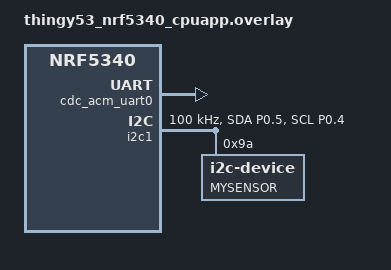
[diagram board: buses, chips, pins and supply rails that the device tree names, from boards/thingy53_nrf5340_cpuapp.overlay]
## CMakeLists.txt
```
#
# Copyright (c) 2018 Nordic Semiconductor
#
# SPDX-License-Identifier: LicenseRef-Nordic-5-Clause
#
cmake_minimum_required(VERSION 3.20.0)

set(PM_STATIC_YML_FILE
  ${CMAKE_CURRENT_SOURCE_DIR}/boards/pm_static_${BOARD}.yml
  )

set(CMAKE_CXX_STANDARD 11)
set(CMAKE_CXX_STANDARD_REQUIRED ON)

find_package(Zephyr REQUIRED HINTS $ENV{ZEPHYR_BASE})
project("Power Controller" VERSION 0.1)

###


include(utils/cmake/utils.cmake)

# Add the Edge Impulse SDK
add_subdirectory(ei-model/edge-impulse-sdk/cmake/zephyr)


# Edge impulse SDK include directories
set(INCLUDES
    .
    ei-model
    ei-model/tflite-model
    ei-model/model-parameters
    src
    )
include_directories(${INCLUDES})

RECURSIVE_FIND_FILE(MODEL_FILES "ei-model/tflite-model" "*.cpp")

list(APPEND SOURCE_FILES ${MODEL_FILES})

###

# NORDIC SDK APP START
target_sources(app PRIVATE ${SOURCE_FILES})
target_sources(app PRIVATE src/main.cpp)

# Preinitialization related to Thingy:53 DFU
target_sources_ifdef(CONFIG_BOARD_THINGY53_NRF5340_CPUAPP app PRIVATE
  boards/thingy53.c
)

# NORDIC SDK APP END
zephyr_library_include_directories(.)
```

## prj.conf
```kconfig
#
# Copyright (c) 2018 Nordic Semiconductor
#
# SPDX-License-Identifier: LicenseRef-Nordic-5-Clause
#
CONFIG_NCS_SAMPLES_DEFAULTS=y

CONFIG_BT=y
CONFIG_BT_PERIPHERAL=y
CONFIG_BT_DEVICE_NAME="Nordic_LBS"

# Enable the LBS service
CONFIG_BT_LBS=y
CONFIG_BT_LBS_POLL_BUTTON=y
CONFIG_DK_LIBRARY=y

CONFIG_SYSTEM_WORKQUEUE_STACK_SIZE=2048

# increase the stack size
CONFIG_MAIN_STACK_SIZE=8192
# enable c++ support
CONFIG_CPLUSPLUS=y
CONFIG_LIB_CPLUSPLUS=y
CONFIG_NEWLIB_LIBC=y
CONFIG_NEWLIB_LIBC_FLOAT_PRINTF=y
CONFIG_FPU=y

# enable the i2c bus
CONFIG_I2C=y
```

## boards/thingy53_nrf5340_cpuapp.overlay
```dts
/*
 * Copyright (c) 2021 Nordic Semiconductor ASA
 *
 * SPDX-License-Identifier: LicenseRef-Nordic-5-Clause
 */

/ {
	chosen {
		nordic,pm-ext-flash = &mx25r64;
	};
};

/ {
	chosen {
		zephyr,console = &cdc_acm_uart0;
	};
};

&zephyr_udc0 {
	cdc_acm_uart0: cdc_acm_uart0 {
		compatible = "zephyr,cdc-acm-uart";
		label = "CDC_ACM_0";
	};
};

// configuring the twi port
&pinctrl {
	i2c1_exp: i2c1_exp {
		group1 {
			psels = <NRF_PSEL(TWIM_SDA, 0, 5)>,                //P0.5 -> SDA EXP_BOARD (Blue)
			<NRF_PSEL(TWIM_SCL, 0, 4)>;                        //P0.4 -> SCL EXP_BOARD (Yellow)
		};
	};
};

&i2c1 {
	status = "okay";
	pinctrl-0 = <&i2c1_exp>;

	clock-frequency = <I2C_BITRATE_STANDARD>;

	mysensor: mysensor@9a {
		compatible = "i2c-device";
		reg = <0x9a>;
		label = "MYSENSOR";
	};
};
```

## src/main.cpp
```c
#include <zephyr.h>
#include <drivers/gpio.h>
#include <drivers/i2c.h>
#include "ei-model/edge-impulse-sdk/classifier/ei_run_classifier.h"
#include "ei-model/edge-impulse-sdk/dsp/numpy.hpp"
#include <nrfx_clock.h>

int ret;
uint8_t config[1] = {1}; // for i2c communications
bool flag = false;
bool anomalyDetected = false;
uint8_t counter = 0;

// the ring buffer
#define BUF_SIZE 15
float buffer[BUF_SIZE];
uint8_t write = 0;
uint8_t read = 0;

void put(float item)
{
	buffer[write++] = item;
	write %= BUF_SIZE;
	read = write;
}

float get()
{
	float item = buffer[read++];
	read %= BUF_SIZE;
	return item;
}

void get_buffer(float _buffer[], uint8_t SIZE)
{
	for (uint8_t i = 0; i < SIZE; i++)
	{
		_buffer[i] = get();
	}
}
//////////////////////////////////////////////

// to recieve the float value from Arduino over I2C (convert from bytes to float)
union FloatI2C
{
	float m_float;
	uint8_t m_bytes[sizeof(float)];
} num;

// features to perform the inference
static float features[BUF_SIZE];

/* 1000 msec = 1 sec */
#define SLEEP_TIME_MS 200

#define LED0_NODE DT_ALIAS(led1)
#define SW0_NODE DT_ALIAS(sw0)
static const struct gpio_dt_spec button = GPIO_DT_SPEC_GET(SW0_NODE, gpios);
#define I2C1_NODE DT_NODELABEL(mysensor)

static const struct gpio_dt_spec led = GPIO_DT_SPEC_GET(LED0_NODE, gpios);
static const struct i2c_dt_spec dev_i2c = I2C_DT_SPEC_GET(I2C1_NODE);

int raw_features_get_data(size_t offset, size_t length, float *out_ptr)
{
	memcpy(out_ptr, features + offset, length * sizeof(float));
	return 0;
}

static struct gpio_callback button_cb_data;

void button_pressed(const struct device *dev, struct gpio_callback *cb, uint32_t pins)
{
	if (anomalyDetected)
	{
		gpio_pin_set_dt(&led, 0);
		config[0] = 1;
		flag = false;
		counter = 0;
		anomalyDetected = false;
	}
}

int main(void)
{
	// This is needed so that output of printf is output immediately without buffering
	setvbuf(stdout, NULL, _IONBF, 0);
	nrfx_clock_divider_set(NRF_CLOCK_DOMAIN_HFCLK, NRF_CLOCK_HFCLK_DIV_1);

	ei_impulse_result_t result = {0};

	if (!device_is_ready(dev_i2c.bus))
		return 1;

	if (!device_is_ready(led.port))
		return 1;

	ret = gpio_pin_configure_dt(&led, GPIO_OUTPUT_ACTIVE);
	if (ret < 0)
		return 1;

	if (!device_is_ready(button.port))
		return 1;

	ret = gpio_pin_configure_dt(&button, GPIO_INPUT);
	if (ret < 0)
		return 1;

	ret = gpio_pin_interrupt_configure_dt(&button, GPIO_INT_EDGE_TO_ACTIVE);
	gpio_init_callback(&button_cb_data, button_pressed, BIT(button.pin));
	gpio_add_callback(button.port, &button_cb_data);

	gpio_pin_set_dt(&led, 0);
	i2c_write_dt(&dev_i2c, config, sizeof(config));
	k_msleep(5000);

	while (1)
	{
		if (anomalyDetected)
		{
			k_msleep(SLEEP_TIME_MS);
		}
		else
		{
			ret = i2c_write_read_dt(&dev_i2c, config, sizeof(config), num.m_bytes, 4);
			// printk("%f", num.m_float);
			put(num.m_float);
			counter++;
			if (!flag)
			{
				if (counter >= 50)
				{
					counter = 0;
					flag = true;
				}
			}
			else if (counter == 5)
			{
				counter = 0;
				get_buffer(features, BUF_SIZE);

				// anomaly edge-impulse
				signal_t features_signal;
				features_signal.total_length = sizeof(features) / sizeof(features[0]);
				features_signal.get_data = &raw_features_get_data;

				// invoke the impulse
				// printk("impulse time!\n\r");
				EI_IMPULSE_ERROR res = run_classifier(&features_signal, &result, true);
				// printk("run_classifier returned: %f\n", result.anomaly);
				if (result.anomaly < 0.4)	  // the threshold for anomaly
					gpio_pin_set_dt(&led, 0); // led off
				else
				{
					gpio_pin_set_dt(&led, 1); // led on, anomaly detected
					config[0] = 0;
					i2c_write_dt(&dev_i2c, config, sizeof(config));
					anomalyDetected = true;
				}
			}
			k_msleep(SLEEP_TIME_MS);
		}
	}
}
```
